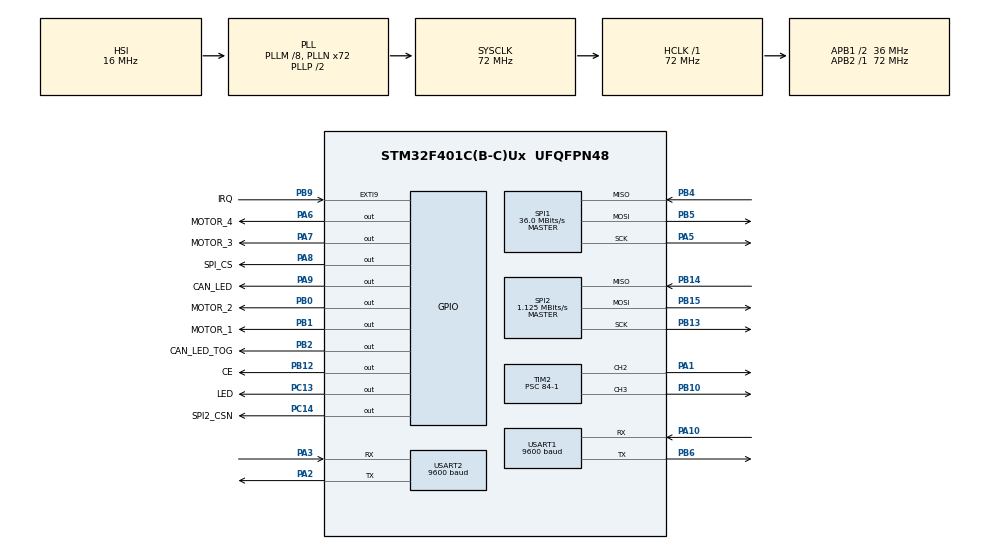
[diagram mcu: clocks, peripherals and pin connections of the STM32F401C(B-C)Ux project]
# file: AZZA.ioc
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FREERTOS.Tasks01=defaultTask,24,128,StartDefaultTask,Default,NULL,Dynamic,NULL,NULL;CTRLt,40,128,CTRL,Default,NULL,Dynamic,NULL,NULL;SPEEDt,48,128,SPEED,Default,NULL,Dynamic,NULL,NULL;Dashboardt,41,128,Dashboard,Default,NULL,Dynamic,NULL,NULL;CANt,48,128,CAN,Default,NULL,Dynamic,NULL,NULL
FREERTOS.configUSE_NEWLIB_REENTRANT=1
Mcu.Family=STM32F4
Mcu.Name=STM32F401C(B-C)Ux
Mcu.Package=UFQFPN48
NVIC.EXTI9_5_IRQn=true\:5\:0\:false\:false\:true\:true\:true\:true\:true
NVIC.PriorityGroup=NVIC_PRIORITYGROUP_4
NVIC.TIM1_UP_TIM10_IRQn=true\:15\:0\:false\:false\:true\:false\:false\:true\:true
NVIC.TIM2_IRQn=true\:5\:0\:false\:false\:true\:true\:true\:true\:true
NVIC.TimeBase=TIM1_UP_TIM10_IRQn
NVIC.TimeBaseIP=TIM10
NVIC.USART1_IRQn=true\:5\:0\:false\:false\:true\:true\:true\:true\:true
PA1.Signal=S_TIM2_CH2
PA10.Mode=Asynchronous
PA10.Signal=USART1_RX
PA2.Mode=Asynchronous
PA2.Signal=USART2_TX
PA3.Mode=Asynchronous
PA3.Signal=USART2_RX
PA5.Mode=Full_Duplex_Master
PA5.Signal=SPI1_SCK
PA6.GPIO_Label=MOTOR_4
PA6.Signal=GPIO_Output
PA7.GPIO_Label=MOTOR_3
PA7.Signal=GPIO_Output
PA8.GPIO_Label=SPI_CS
PA8.PinState=GPIO_PIN_SET
PA8.Signal=GPIO_Output
PA9.GPIO_Label=CAN_LED
PA9.Signal=GPIO_Output
PB0.GPIO_Label=MOTOR_2
PB0.Signal=GPIO_Output
PB1.GPIO_Label=MOTOR_1
PB1.Signal=GPIO_Output
PB10.Signal=S_TIM2_CH3
PB12.GPIO_Label=CE
PB12.GPIO_Speed=GPIO_SPEED_FREQ_HIGH
PB12.Signal=GPIO_Output
PB13.Mode=Full_Duplex_Master
PB13.Signal=SPI2_SCK
PB14.Mode=Full_Duplex_Master
PB14.Signal=SPI2_MISO
PB15.Mode=Full_Duplex_Master
PB15.Signal=SPI2_MOSI
PB2.GPIO_Label=CAN_LED_TOG
PB2.Signal=GPIO_Output
PB4.Mode=Full_Duplex_Master
PB4.Signal=SPI1_MISO
PB5.Mode=Full_Duplex_Master
PB5.Signal=SPI1_MOSI
PB6.Mode=Asynchronous
PB6.Signal=USART1_TX
PB9.GPIO_Label=IRQ
PB9.GPIO_ModeDefaultEXTI=GPIO_MODE_IT_FALLING
PB9.Signal=GPXTI9
PC13-ANTI_TAMP.GPIO_Label=LED
PC13-ANTI_TAMP.PinState=GPIO_PIN_SET
PC13-ANTI_TAMP.Signal=GPIO_Output
PC14-OSC32_IN.GPIO_Label=SPI2_CSN
PC14-OSC32_IN.GPIO_Speed=GPIO_SPEED_FREQ_HIGH
PC14-OSC32_IN.PinState=GPIO_PIN_SET
PC14-OSC32_IN.Signal=GPIO_Output
ProjectManager.HeapSize=0x200
ProjectManager.StackSize=0x400
ProjectManager.TargetToolchain=STM32CubeIDE
RCC.48MHZClocksFreq_Value=36000000
RCC.AHBFreq_Value=72000000
RCC.APB1CLKDivider=RCC_HCLK_DIV2
RCC.APB1Freq_Value=36000000
RCC.APB1TimFreq_Value=72000000
RCC.APB2Freq_Value=72000000
RCC.APB2TimFreq_Value=72000000
RCC.CortexFreq_Value=72000000
RCC.HCLKFreq_Value=72000000
RCC.HSE_VALUE=25000000
RCC.HSI_VALUE=16000000
RCC.LSE_VALUE=32768
RCC.PLLM=8
RCC.PLLN=72
RCC.SYSCLKFreq_VALUE=72000000
RCC.SYSCLKSource=RCC_SYSCLKSOURCE_PLLCLK
RCC.VCOOutputFreq_Value=144000000
SH.S_TIM2_CH2.0=TIM2_CH2,PWM Generation2 CH2
SH.S_TIM2_CH3.0=TIM2_CH3,PWM Generation3 CH3
SPI1.CalculateBaudRate=36.0 MBits/s
SPI1.Direction=SPI_DIRECTION_2LINES
SPI1.Mode=SPI_MODE_MASTER
SPI1.VirtualType=VM_MASTER
SPI2.BaudRatePrescaler=SPI_BAUDRATEPRESCALER_32
SPI2.CalculateBaudRate=1.125 MBits/s
SPI2.Direction=SPI_DIRECTION_2LINES
SPI2.Mode=SPI_MODE_MASTER
SPI2.VirtualType=VM_MASTER
TIM2.Channel-PWM\ Generation2\ CH2=TIM_CHANNEL_2
TIM2.Channel-PWM\ Generation3\ CH3=TIM_CHANNEL_3
TIM2.Period=1000-1
TIM2.Prescaler=84-1
USART1.BaudRate=9600
USART1.VirtualMode=VM_ASYNC
USART2.BaudRate=9600
USART2.VirtualMode=VM_ASYNC
VP_FREERTOS_VS_CMSIS_V2.Mode=CMSIS_V2
VP_SYS_VS_tim10.Mode=TIM10
VP_TIM2_VS_ClockSourceINT.Mode=Internal
board=custom

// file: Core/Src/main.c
/* USER CODE BEGIN Header */
/**
  ******************************************************************************
  * @file           : main.c
  * @brief          : Main program body
  ******************************************************************************
  * @attention
  *
  * <h2><center>&copy; Copyright (c) 2021 STMicroelectronics.
  * All rights reserved.</center></h2>
  *
  * This software component is licensed by ST under BSD 3-Clause license,
  * the "License"; You may not use this file except in compliance with the
  * License. You may obtain a copy of the License at:
  *                        opensource.org/licenses/BSD-3-Clause
  *
  ******************************************************************************
  */
/* USER CODE END Header */
#include "main.h"
#include "cmsis_os.h"
#include "spi.h"
#include "tim.h"
#include "usart.h"
#include "gpio.h"

/* USER CODE BEGIN PD */

#define TRANSMITTER

/* USER CODE END PD */

/* USER CODE BEGIN PV */
uint8_t rxBlue='X';
uint8_t rxNRF[NRF24L01P_PAYLOAD_LENGTH]={0};

uint8_t txDisplay[DISPLAY_ELEMENTS]  = {0};
uint8_t txDisplayStr[DISPLAY_STRING] = {0};
uCAN_MSG rxCAN;
uint8_t data_2[7];
uint8_t buffer[50];

uint8_t uart_test[5]={0};
uint8_t uart_test_STR[20]={0};
/* USER CODE END PV */

void SystemClock_Config(void);
void MX_FREERTOS_Init(void);
/* USER CODE BEGIN PFP */
void HAL_GPIO_EXTI_Callback(uint16_t GPIO_Pin);
void HAL_UART_RxCpltCallback(UART_HandleTypeDef *huart);
/* USER CODE END PFP */

int main(void)
{
  /* USER CODE BEGIN 1 */
	  data_2[0] = 55;
	    data_2[1] = 0;
	    data_2[2] = 40;
	    data_2[3] = 0;
	    data_2[4] = 0;
	    data_2[5] = 0;
	    data_2[6] = 0;
	    uart_test[0]=5;
	    uart_test[1]=5;
	    uart_test[2]=5;
	    uart_test[3]=5;
	    uart_test[4]=5;

  /* USER CODE END 1 */

  /* MCU Configuration--------------------------------------------------------*/

  /* Reset of all peripherals, Initializes the Flash interface and the Systick. */
  HAL_Init();

  /* Configure the system clock */
  SystemClock_Config();

  /* Initialize all configured peripherals */
  MX_GPIO_Init();
  MX_SPI2_Init();
  MX_TIM2_Init();
  MX_USART1_UART_Init();
  MX_SPI1_Init();
  MX_USART2_UART_Init();
  /* USER CODE BEGIN 2 */
  nrf24l01p_rx_init(2500, _2Mbps);

  HAL_TIM_PWM_Start(&htim2, TIM_CHANNEL_2);
  HAL_TIM_PWM_Start(&htim2, TIM_CHANNEL_3);
  HAL_UART_Receive_IT(&huart1,&rxBlue,1); // Enabling interrupt receive

  HAL_GPIO_WritePin(CAN_LED_GPIO_Port, CAN_LED_Pin, GPIO_PIN_RESET);
  int ret;
  	ret = CANSPI_Initialize();
  	if(!ret){

  		HAL_GPIO_WritePin(CAN_LED_GPIO_Port, CAN_LED_Pin, GPIO_PIN_SET);
  		while(1){}
  	}
  /* USER CODE END 2 */

  /* Init scheduler */
  osKernelInitialize();

  /* Call init function for freertos objects (in freertos.c) */
  MX_FREERTOS_Init();

  /* Start scheduler */
  osKernelStart();

  /* We should never get here as control is now taken by the scheduler */
  /* Infinite loop */
  while (1)
  {

  }
}

void SystemClock_Config(void)
{
  RCC_OscInitTypeDef RCC_OscInitStruct = {0};
  RCC_ClkInitTypeDef RCC_ClkInitStruct = {0};

  /** Configure the main internal regulator output voltage
  */
  __HAL_RCC_PWR_CLK_ENABLE();
  __HAL_PWR_VOLTAGESCALING_CONFIG(PWR_REGULATOR_VOLTAGE_SCALE2);

  /** Initializes the RCC Oscillators according to the specified parameters
  * in the RCC_OscInitTypeDef structure.
  */
  RCC_OscInitStruct.OscillatorType = RCC_OSCILLATORTYPE_HSI;
  RCC_OscInitStruct.HSIState = RCC_HSI_ON;
  RCC_OscInitStruct.HSICalibrationValue = RCC_HSICALIBRATION_DEFAULT;
  RCC_OscInitStruct.PLL.PLLState = RCC_PLL_ON;
  RCC_OscInitStruct.PLL.PLLSource = RCC_PLLSOURCE_HSI;
  RCC_OscInitStruct.PLL.PLLM = 8;
  RCC_OscInitStruct.PLL.PLLN = 72;
  RCC_OscInitStruct.PLL.PLLP = RCC_PLLP_DIV2;
  RCC_OscInitStruct.PLL.PLLQ = 4;
  if (HAL_RCC_OscConfig(&RCC_OscInitStruct) != HAL_OK)
  {
    Error_Handler();
  }

  /** Initializes the CPU, AHB and APB buses clocks
  */
  RCC_ClkInitStruct.ClockType = RCC_CLOCKTYPE_HCLK|RCC_CLOCKTYPE_SYSCLK
                              |RCC_CLOCKTYPE_PCLK1|RCC_CLOCKTYPE_PCLK2;
  RCC_ClkInitStruct.SYSCLKSource = RCC_SYSCLKSOURCE_PLLCLK;
  RCC_ClkInitStruct.AHBCLKDivider = RCC_SYSCLK_DIV1;
  RCC_ClkInitStruct.APB1CLKDivider = RCC_HCLK_DIV2;
  RCC_ClkInitStruct.APB2CLKDivider = RCC_HCLK_DIV1;

  if (HAL_RCC_ClockConfig(&RCC_ClkInitStruct, FLASH_LATENCY_2) != HAL_OK)
  {
    Error_Handler();
  }
}

/* USER CODE BEGIN 4 */

void HAL_GPIO_EXTI_Callback(uint16_t GPIO_Pin)
{
	if(GPIO_Pin == IRQ_NUMBER )
	{
		nrf24l01p_rx_receive(rxNRF);
		if     (rxNRF[NEXT_MOVE] == 'r'){  txDisplay[ZOZZA_NEXT_MOVE] = RIGHT;	}
		else if(rxNRF[NEXT_MOVE] == 'l'){  txDisplay[ZOZZA_NEXT_MOVE] = LEFT;	}
		else                  			{  txDisplay[ZOZZA_NEXT_MOVE] = NOTHING;}

		txDisplay[ZOZZA_SPEED] = rxNRF[DUTY_CYCLE];
	}
}
void HAL_UART_RxCpltCallback(UART_HandleTypeDef *huart)
{
	if(huart->Instance==USART1){
		HAL_UART_Receive_IT(&huart1,&rxBlue,1); // Enabling interrupt receive again
		if     (rxBlue == 'r'){  txDisplay[AZZA_NEXT_MOVE] = RIGHT;	 }
		else if(rxBlue == 'l'){  txDisplay[AZZA_NEXT_MOVE] = LEFT;	 }
		else                  {  txDisplay[AZZA_NEXT_MOVE] = NOTHING;}
	}
}

/* USER CODE END 4 */

void HAL_TIM_PeriodElapsedCallback(TIM_HandleTypeDef *htim)
{
  if (htim->Instance == TIM10) {
    HAL_IncTick();
  }
}

void Error_Handler(void)
{
  __disable_irq();
  while (1)
  {
  }
}

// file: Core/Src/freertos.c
/* USER CODE BEGIN Header */
/**
  ******************************************************************************
  * File Name          : freertos.c
  * Description        : Code for freertos applications
  ******************************************************************************
  * @attention
  *
  * Copyright (c) 2024 STMicroelectronics.
  * All rights reserved.
  *
  * This software is licensed under terms that can be found in the LICENSE file
  * in the root directory of this software component.
  * If no LICENSE file comes with this software, it is provided AS-IS.
  *
  ******************************************************************************
  */
/* USER CODE END Header */

#include "FreeRTOS.h"
#include "task.h"
#include "main.h"
#include "cmsis_os.h"

/* Definitions for defaultTask */
osThreadId_t defaultTaskHandle;
const osThreadAttr_t defaultTask_attributes = {
  .name = "defaultTask",
  .stack_size = 128 * 4,
  .priority = (osPriority_t) osPriorityNormal,
};
/* Definitions for CTRLt */
osThreadId_t CTRLtHandle;
const osThreadAttr_t CTRLt_attributes = {
  .name = "CTRLt",
  .stack_size = 128 * 4,
  .priority = (osPriority_t) osPriorityHigh,
};
/* Definitions for SPEEDt */
osThreadId_t SPEEDtHandle;
const osThreadAttr_t SPEEDt_attributes = {
  .name = "SPEEDt",
  .stack_size = 128 * 4,
  .priority = (osPriority_t) osPriorityRealtime,
};
/* Definitions for Dashboardt */
osThreadId_t DashboardtHandle;
const osThreadAttr_t Dashboardt_attributes = {
  .name = "Dashboardt",
  .stack_size = 128 * 4,
  .priority = (osPriority_t) osPriorityHigh1,
};
/* Definitions for CANt */
osThreadId_t CANtHandle;
const osThreadAttr_t CANt_attributes = {
  .name = "CANt",
  .stack_size = 128 * 4,
  .priority = (osPriority_t) osPriorityRealtime,
};

void StartDefaultTask(void *argument);
void CTRL(void *argument);
void SPEED(void *argument);
void Dashboard(void *argument);
void CAN(void *argument);

void MX_FREERTOS_Init(void); /* (MISRA C 2004 rule 8.1) */

void MX_FREERTOS_Init(void) {

  /* Create the thread(s) */
  /* creation of defaultTask */
  defaultTaskHandle = osThreadNew(StartDefaultTask, NULL, &defaultTask_attributes);

  /* creation of CTRLt */
  CTRLtHandle = osThreadNew(CTRL, NULL, &CTRLt_attributes);

  /* creation of SPEEDt */
  SPEEDtHandle = osThreadNew(SPEED, NULL, &SPEEDt_attributes);

  /* creation of Dashboardt */
  DashboardtHandle = osThreadNew(Dashboard, NULL, &Dashboardt_attributes);

  /* creation of CANt */
  CANtHandle = osThreadNew(CAN, NULL, &CANt_attributes);

}

void StartDefaultTask(void *argument)
{
  for(;;)
  {
    osDelay(1);
  }
}

void CTRL(void *argument)
{
  /* USER CODE BEGIN CTRL */
  /* Infinite loop */
  for(;;){
  switch (rxBlue) {

  case 70:	//forward 'F'
    HAL_GPIO_WritePin(MOTOR_1_GPIO_Port, MOTOR_1_Pin, 0);
    HAL_GPIO_WritePin(MOTOR_2_GPIO_Port, MOTOR_2_Pin, 1);
    HAL_GPIO_WritePin(MOTOR_3_GPIO_Port, MOTOR_3_Pin, 1);
    HAL_GPIO_WritePin(MOTOR_4_GPIO_Port, MOTOR_4_Pin, 0);
    break;

  case 82:	//right 'R'
    HAL_GPIO_WritePin(MOTOR_1_GPIO_Port, MOTOR_1_Pin, 0);
    HAL_GPIO_WritePin(MOTOR_2_GPIO_Port, MOTOR_2_Pin, 1);
    HAL_GPIO_WritePin(MOTOR_3_GPIO_Port, MOTOR_3_Pin, 0);
    HAL_GPIO_WritePin(MOTOR_4_GPIO_Port, MOTOR_4_Pin, 1);
    break;

  case 76:	//left 'L'
    HAL_GPIO_WritePin(MOTOR_1_GPIO_Port, MOTOR_1_Pin, 1);
    HAL_GPIO_WritePin(MOTOR_2_GPIO_Port, MOTOR_2_Pin, 0);
    HAL_GPIO_WritePin(MOTOR_3_GPIO_Port, MOTOR_3_Pin, 1);
    HAL_GPIO_WritePin(MOTOR_4_GPIO_Port, MOTOR_4_Pin, 0);
    break;

  case 71:	//back 'G'
    HAL_GPIO_WritePin(MOTOR_1_GPIO_Port, MOTOR_1_Pin, 1);
    HAL_GPIO_WritePin(MOTOR_2_GPIO_Port, MOTOR_2_Pin, 0);
    HAL_GPIO_WritePin(MOTOR_3_GPIO_Port, MOTOR_3_Pin, 0);
    HAL_GPIO_WritePin(MOTOR_4_GPIO_Port, MOTOR_4_Pin, 1);
    break;

  case 88:	//stop 'X'
	  HAL_GPIO_WritePin(MOTOR_1_GPIO_Port, MOTOR_1_Pin, 0);
	  HAL_GPIO_WritePin(MOTOR_2_GPIO_Port, MOTOR_2_Pin, 0);
	  HAL_GPIO_WritePin(MOTOR_3_GPIO_Port, MOTOR_3_Pin, 0);
	  HAL_GPIO_WritePin(MOTOR_4_GPIO_Port, MOTOR_4_Pin, 0);
    break;

  default:
    break;

  }
	osDelay(1);
	}
  /* USER CODE END CTRL */
}

void SPEED(void *argument)
{
  /* USER CODE BEGIN SPEED */
  /* Infinite loop */
  for(;;)
  {
    if (	rxBlue=='X' || (txDisplay[FRONT]==RED && rxBlue=='F') || (txDisplay[BACK]==RED && rxBlue=='G')	) {
      __HAL_TIM_SET_COMPARE(&htim2, TIM_CHANNEL_2, 0);
      __HAL_TIM_SET_COMPARE(&htim2, TIM_CHANNEL_3, 0);
      txDisplay[AZZA_SPEED] = 0;
  }else if ((txDisplay[FRONT]==NOTHING && rxBlue=='F') || (txDisplay[BACK]==NOTHING && rxBlue=='G')){
      __HAL_TIM_SET_COMPARE(&htim2, TIM_CHANNEL_2, 400);
      __HAL_TIM_SET_COMPARE(&htim2, TIM_CHANNEL_3, 400);
      txDisplay[AZZA_SPEED] = 5;
  }else if ((txDisplay[FRONT]==YELLOW && rxBlue=='F') || (txDisplay[BACK]==YELLOW && rxBlue=='G') || rxBlue=='L' || rxBlue=='R'){
      __HAL_TIM_SET_COMPARE(&htim2, TIM_CHANNEL_2, 200);
      __HAL_TIM_SET_COMPARE(&htim2, TIM_CHANNEL_3, 200);
      txDisplay[AZZA_SPEED] = 4;

  }
    osDelay(1);
  }

  /* USER CODE END SPEED */
}

void Dashboard(void *argument)
{
  /* USER CODE BEGIN Dashboard */
  /* Infinite loop */
  for(;;)
  {
	    sprintf((char*)txDisplayStr, "%d,%d,%d,%d,%d,%d,%d\n",
	    		txDisplay[ZOZZA_SPEED],txDisplay[ZOZZA_NEXT_MOVE],txDisplay[AZZA_SPEED],txDisplay[AZZA_NEXT_MOVE],txDisplay[BLIND],txDisplay[FRONT],txDisplay[BACK]);

	    HAL_UART_Transmit(&huart2, txDisplayStr, sizeof(txDisplayStr), HAL_MAX_DELAY);
	    osDelay(500);

  }
  /* USER CODE END Dashboard */
}

void CAN(void *argument)
{
  /* USER CODE BEGIN CAN */
  /* Infinite loop */
  for(;;)
  {
	  if(CANSPI_Receive(&rxCAN)){
		  if(rxCAN.frame.id == 0x0B){
			  if(rxCAN.frame.data0 == 1){
				  HAL_GPIO_WritePin(CAN_LED_TOG_GPIO_Port, CAN_LED_TOG_Pin, GPIO_PIN_SET);
			  }else{
				  HAL_GPIO_WritePin(CAN_LED_TOG_GPIO_Port, CAN_LED_TOG_Pin, GPIO_PIN_RESET);
			  }
			  if (rxCAN.frame.data2)	{	txDisplay[FRONT]=RED;	 }
			  if ( rxCAN.frame.data1)	{	txDisplay[FRONT]=YELLOW; }
			  if ((!rxCAN.frame.data1) && (!rxCAN.frame.data2))
			  	  { txDisplay[FRONT] = NOTHING;}

			  if ( rxCAN.frame.data3)	{	txDisplay[BLIND]=RED;	 }
			  if (!rxCAN.frame.data3)	{ txDisplay[BLIND]=NOTHING;}

			  if ( rxCAN.frame.data5 )	{	txDisplay[BACK]=RED;	 }
			  if ( rxCAN.frame.data4)	{	txDisplay[BACK]=YELLOW;  }
			  if ((!rxCAN.frame.data4) && (!rxCAN.frame.data5))
			  	  { txDisplay[BACK] = NOTHING;}
		  }
	}
    osDelay(300);
  }
  /* USER CODE END CAN */
}
